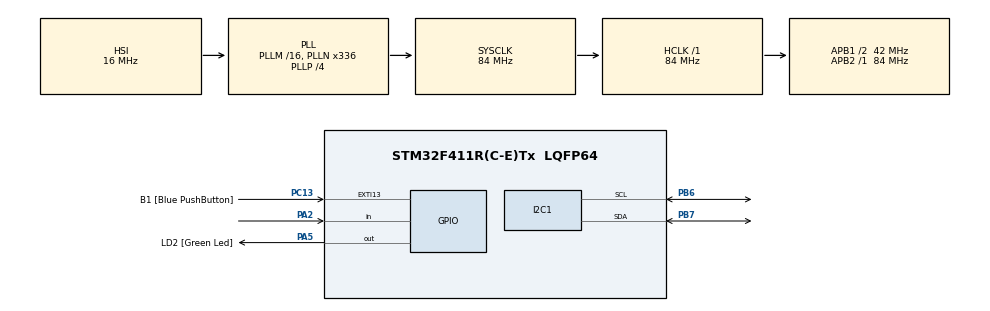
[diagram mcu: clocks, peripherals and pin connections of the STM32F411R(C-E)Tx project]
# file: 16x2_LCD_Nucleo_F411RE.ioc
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Mcu.Family=STM32F4
Mcu.Name=STM32F411R(C-E)Tx
Mcu.Package=LQFP64
NVIC.PriorityGroup=NVIC_PRIORITYGROUP_0
PA13.GPIO_Label=TMS
PA13.Mode=Trace_Asynchronous_SW
PA13.Signal=SYS_JTMS-SWDIO
PA14.GPIO_Label=TCK
PA14.Mode=Trace_Asynchronous_SW
PA14.Signal=SYS_JTCK-SWCLK
PA2.Signal=GPIO_Input
PA5.GPIO_Label=LD2 [Green Led]
PA5.Signal=GPIO_Output
PB3.GPIO_Label=SWO
PB3.Mode=Trace_Asynchronous_SW
PB3.Signal=SYS_JTDO-SWO
PB6.GPIO_Pu=GPIO_PULLUP
PB6.Mode=I2C
PB6.Signal=I2C1_SCL
PB7.GPIO_Pu=GPIO_PULLUP
PB7.Mode=I2C
PB7.Signal=I2C1_SDA
PC13-ANTI_TAMP.GPIO_Label=B1 [Blue PushButton]
PC13-ANTI_TAMP.GPIO_ModeDefaultEXTI=GPIO_MODE_IT_FALLING
PC13-ANTI_TAMP.Signal=GPXTI13
PC14-OSC32_IN.Mode=LSE-External-Oscillator
PC14-OSC32_IN.Signal=RCC_OSC32_IN
PC15-OSC32_OUT.Mode=LSE-External-Oscillator
PC15-OSC32_OUT.Signal=RCC_OSC32_OUT
PH0\ -\ OSC_IN.Mode=HSE-External-Clock-Source
PH0\ -\ OSC_IN.Signal=RCC_OSC_IN
PH1\ -\ OSC_OUT.Mode=HSE-External-Clock-Source
PH1\ -\ OSC_OUT.Signal=RCC_OSC_OUT
ProjectManager.HeapSize=0x200
ProjectManager.StackSize=0x400
ProjectManager.TargetToolchain=STM32CubeIDE
RCC.48MHZClocksFreq_Value=84000000
RCC.AHBFreq_Value=84000000
RCC.APB1CLKDivider=RCC_HCLK_DIV2
RCC.APB1Freq_Value=42000000
RCC.APB1TimFreq_Value=84000000
RCC.APB2Freq_Value=84000000
RCC.APB2TimFreq_Value=84000000
RCC.CortexFreq_Value=84000000
RCC.FLatency-AdvancedSettings=FLASH_LATENCY_2
RCC.HCLKFreq_Value=84000000
RCC.HSE_VALUE=8000000
RCC.HSI_VALUE=16000000
RCC.PLLN=336
RCC.PLLP=RCC_PLLP_DIV4
RCC.SYSCLKFreq_VALUE=84000000
RCC.SYSCLKSource=RCC_SYSCLKSOURCE_PLLCLK
RCC.VCOOutputFreq_Value=336000000
board=NUCLEO-F411RE

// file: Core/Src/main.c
/* USER CODE BEGIN Header */
/**
 ******************************************************************************
 * @file           : main.c
 * @brief          : Main program body
 ******************************************************************************
 * @attention
 *
 * <h2><center>&copy; Copyright (c) 2021 STMicroelectronics.
 * All rights reserved.</center></h2>
 *
 * This software component is licensed by ST under BSD 3-Clause license,
 * the "License"; You may not use this file except in compliance with the
 * License. You may obtain a copy of the License at:
 *                        opensource.org/licenses/BSD-3-Clause
 *
 ******************************************************************************
 */
/* USER CODE END Header */
#include "main.h"

/* USER CODE BEGIN Includes */

#include "stdio.h" // to enable printf() function
#include "i2c-lcd.h"

/* USER CODE END Includes */

/* USER CODE BEGIN PM */
#define ITM_Port32(n)   (*((volatile unsigned long *)(0xE0000000+4*n)))
/* USER CODE END PM */

I2C_HandleTypeDef hi2c1;

void SystemClock_Config(void);
static void MX_GPIO_Init(void);
static void MX_I2C1_Init(void);

/* USER CODE BEGIN 0 */

int counter = 0;

char a = 0; //this byte of data is incremented in main() as a test of expressions updating

int tickstart = 0;

int tickend = 0;

int tickdiff = 0;

int HALver = 0;

/* USER CODE END 0 */

int main(void)
{

  /* MCU Configuration--------------------------------------------------------*/

  /* Reset of all peripherals, Initializes the Flash interface and the Systick. */
  HAL_Init();

  /* Configure the system clock */
  SystemClock_Config();

  /* USER CODE BEGIN SysInit */
	ITM_Port32(31) = 1; //send the value 1 to port 31 of ITM and view using SWV Trace Log
  /* USER CODE END SysInit */

  /* Initialize all configured peripherals */
  MX_GPIO_Init();
  MX_I2C1_Init();
  /* USER CODE BEGIN 2 */

	printf("GPIO Init Done \r\n");
	ITM_Port32(31) = 2; //send the value 2 to port 31 of ITM and view using SWV Trace Log

	//lcd_send_cmd(cmd)
	HAL_Delay(500);
	lcd_init();
	HAL_Delay(500);
	lcd_put_cur(0, 0);
	HAL_Delay(500);
	lcd_send_string("Setting up");
	HAL_Delay(500);
	lcd_put_cur(1, 0);
	lcd_send_string("The display");
	HAL_Delay(2000);
	lcd_clear();

  /* USER CODE END 2 */

  /* Infinite loop */
  /* USER CODE BEGIN WHILE */
	while (1) {
		HAL_Delay(500);
		lcd_put_cur(0, 0);
		HAL_Delay(500);
		lcd_send_string("Line 1 text");
		HAL_Delay(500);
		lcd_put_cur(1, 0);
		HAL_Delay(500);
		lcd_send_string("Line 2");
		HAL_Delay(500);
		lcd_clear();

		// Toggle onboard yellow LED
		HAL_Delay(1000);
		//		HAL_GPIO_TogglePin(User_LED_GPIO_Port, User_LED_Pin);

		a++;

		tickstart = HAL_GetTick();

		HAL_Delay(1000);

		tickend = HAL_GetTick();

		tickdiff = tickend - tickstart;

		HALver = HAL_GetHalVersion();

		counter++;
		HAL_Delay(500);

    /* USER CODE END WHILE */

    /* USER CODE BEGIN 3 */
		printf("I'm in the main loop!\r\n");
	}
  /* USER CODE END 3 */
}

void SystemClock_Config(void)
{
  RCC_OscInitTypeDef RCC_OscInitStruct = {0};
  RCC_ClkInitTypeDef RCC_ClkInitStruct = {0};

  /** Configure the main internal regulator output voltage
  */
  __HAL_RCC_PWR_CLK_ENABLE();
  __HAL_PWR_VOLTAGESCALING_CONFIG(PWR_REGULATOR_VOLTAGE_SCALE1);

  /** Initializes the RCC Oscillators according to the specified parameters
  * in the RCC_OscInitTypeDef structure.
  */
  RCC_OscInitStruct.OscillatorType = RCC_OSCILLATORTYPE_HSI;
  RCC_OscInitStruct.HSIState = RCC_HSI_ON;
  RCC_OscInitStruct.HSICalibrationValue = RCC_HSICALIBRATION_DEFAULT;
  RCC_OscInitStruct.PLL.PLLState = RCC_PLL_ON;
  RCC_OscInitStruct.PLL.PLLSource = RCC_PLLSOURCE_HSI;
  RCC_OscInitStruct.PLL.PLLM = 16;
  RCC_OscInitStruct.PLL.PLLN = 336;
  RCC_OscInitStruct.PLL.PLLP = RCC_PLLP_DIV4;
  RCC_OscInitStruct.PLL.PLLQ = 4;
  if (HAL_RCC_OscConfig(&RCC_OscInitStruct) != HAL_OK)
  {
    Error_Handler();
  }

  /** Initializes the CPU, AHB and APB buses clocks
  */
  RCC_ClkInitStruct.ClockType = RCC_CLOCKTYPE_HCLK|RCC_CLOCKTYPE_SYSCLK
                              |RCC_CLOCKTYPE_PCLK1|RCC_CLOCKTYPE_PCLK2;
  RCC_ClkInitStruct.SYSCLKSource = RCC_SYSCLKSOURCE_PLLCLK;
  RCC_ClkInitStruct.AHBCLKDivider = RCC_SYSCLK_DIV1;
  RCC_ClkInitStruct.APB1CLKDivider = RCC_HCLK_DIV2;
  RCC_ClkInitStruct.APB2CLKDivider = RCC_HCLK_DIV1;

  if (HAL_RCC_ClockConfig(&RCC_ClkInitStruct, FLASH_LATENCY_2) != HAL_OK)
  {
    Error_Handler();
  }
}

static void MX_I2C1_Init(void)
{

  hi2c1.Instance = I2C1;
  hi2c1.Init.ClockSpeed = 100000;
  hi2c1.Init.DutyCycle = I2C_DUTYCYCLE_2;
  hi2c1.Init.OwnAddress1 = 0;
  hi2c1.Init.AddressingMode = I2C_ADDRESSINGMODE_7BIT;
  hi2c1.Init.DualAddressMode = I2C_DUALADDRESS_DISABLE;
  hi2c1.Init.OwnAddress2 = 0;
  hi2c1.Init.GeneralCallMode = I2C_GENERALCALL_DISABLE;
  hi2c1.Init.NoStretchMode = I2C_NOSTRETCH_DISABLE;
  if (HAL_I2C_Init(&hi2c1) != HAL_OK)
  {
    Error_Handler();
  }

}

static void MX_GPIO_Init(void)
{
  GPIO_InitTypeDef GPIO_InitStruct = {0};

  /* GPIO Ports Clock Enable */
  __HAL_RCC_GPIOC_CLK_ENABLE();
  __HAL_RCC_GPIOH_CLK_ENABLE();
  __HAL_RCC_GPIOA_CLK_ENABLE();
  __HAL_RCC_GPIOB_CLK_ENABLE();

  /*Configure GPIO pin Output Level */
  HAL_GPIO_WritePin(LD2_GPIO_Port, LD2_Pin, GPIO_PIN_RESET);

  /*Configure GPIO pin : B1_Pin */
  GPIO_InitStruct.Pin = B1_Pin;
  GPIO_InitStruct.Mode = GPIO_MODE_IT_FALLING;
  GPIO_InitStruct.Pull = GPIO_NOPULL;
  HAL_GPIO_Init(B1_GPIO_Port, &GPIO_InitStruct);

  /*Configure GPIO pin : PA2 */
  GPIO_InitStruct.Pin = GPIO_PIN_2;
  GPIO_InitStruct.Mode = GPIO_MODE_INPUT;
  GPIO_InitStruct.Pull = GPIO_NOPULL;
  HAL_GPIO_Init(GPIOA, &GPIO_InitStruct);

  /*Configure GPIO pin : LD2_Pin */
  GPIO_InitStruct.Pin = LD2_Pin;
  GPIO_InitStruct.Mode = GPIO_MODE_OUTPUT_PP;
  GPIO_InitStruct.Pull = GPIO_NOPULL;
  GPIO_InitStruct.Speed = GPIO_SPEED_FREQ_LOW;
  HAL_GPIO_Init(LD2_GPIO_Port, &GPIO_InitStruct);

}

/* USER CODE BEGIN 4 */
int _write(int file, char *ptr, int len) {
	int DataIdx;

	for (DataIdx = 0; DataIdx < len; DataIdx++) {
		ITM_SendChar(*ptr++);
	}
	return len;
}
/* USER CODE END 4 */

void Error_Handler(void)
{
	__disable_irq();
	while (1) {
	}
}
